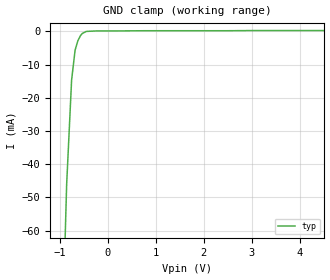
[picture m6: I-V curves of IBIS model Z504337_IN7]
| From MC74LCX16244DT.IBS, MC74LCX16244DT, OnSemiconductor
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| (C) COPYRIGHT 1993-2000
| MENTOR GRAPHICS CORPORATION
| ICX STANDARD LIBRARY, ICX PROJECT MODELING,
| ICX CUSTOM MODELING, ICX VENDOR MODEL
| ALL RIGHTS RESERVED.
| THE FOLLOWING ARE TRADEMARKS OR SERVICE MARKS OF
| MENTOR GRAPHICS CORPORATION:ICX (R), ICX STANDARD
| LIBRARY(R), ICX PROJECT MODELING(R), ICX CUSTOM
| MODELING(R), qualityIBIS(TM), MODELVIEWER(TM),
| AND MODELEDITOR(TM)
| ALL COPIES OF SOFTWARE, INCLUDING BUT NOT LIMITED TO
| ANY MODIFICATIONS, ENHANCEMENTS OR DERIVATIVE WORKS,
| MUST CONTAIN ALL MENTOR GRAPHICS CORPORATION'S
| NOTICES AND LEGENDS, INCLUDING THOSE EMBEDDED IN
| SOFTWARE AND THOSE AFFIXED TO SOFTWARE MEDIUM
| AND CONTAINER, AS RECEIVED FROM MENTOR GRAPHICS
| CORPORATION.
| Model Application Version 1.89 2/18/99.
[Model] Z504337_IN7
Model_type Input
Vinl = 800.0mV
Vinh = 2.000V
C_comp 4.000pF NA NA
| variable typ   min   max
[Voltage Range] 3.300V NA NA
[GND Clamp Reference] 0.000V NA NA
[POWER Clamp Reference] 3.300V NA NA
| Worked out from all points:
|   GND clamp passes 1 mA (typ) near -0.56 V on its own axis
[GND Clamp]
-3.3V     -1.64A     NA         NA
-1.014V   -126mA     NA         NA
-858.8mV  -46.14mA   NA         NA
-755.7mV  -14.68mA   NA         NA
-682.7mV  -5.618mA   NA         NA
-625mV    -2.788mA   NA         NA
-570.2mV  -1.235mA   NA         NA
-532.2mV  -587uA     NA         NA
-449.2mV  24.95uA    NA         NA
6.6V      287.3uA    NA         NA
[POWER Clamp]
-3.3V     0A         NA         NA
6.6V      0A         NA         NA
